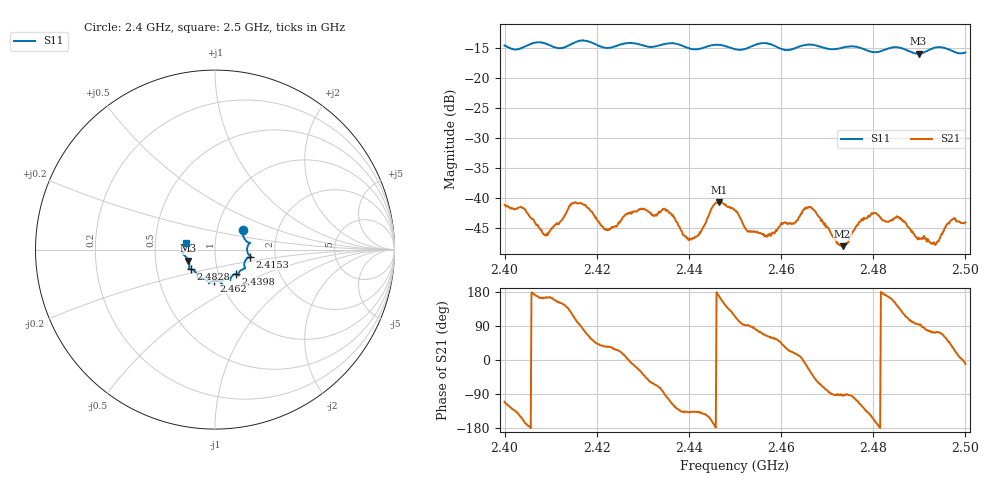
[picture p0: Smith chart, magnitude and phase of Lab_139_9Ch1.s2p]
# Hz S RI R 50
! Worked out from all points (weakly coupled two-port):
!   601 points, 2.4 GHz to 2.5 GHz, reference 50 ohm
!   highest |S21| = -40.71 dB at 2.4465 GHz (marker M1); lowest = -48.1 dB at 2.4733 GHz (marker M2)
!   lowest |S11| = -15.9 dB at 2.4898 GHz (marker M3), VSWR 1.38, Z = 36.8 - j4.63 ohm
!   |S11| at or under -10 dB: start of sweep to end of sweep
!   S12 and S22 are empty: the file has one direction only
!   S11 on the Smith chart (normalised r, x): 2.4 GHz: 1.33, +0.29; 2.4153 GHz: 1.48, -0.12; 2.4398 GHz: 1.21, -0.34; 2.462 GHz: 0.93, -0.33; 2.4828 GHz: 0.74, -0.17; 2.5 GHz: 0.72, +0.06
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2.4e9  0.155 0.1065  -0.00301 -0.00818  0 0  0 0
2.404e9  0.1746 0.0475  -0.0076 -0.00309  0 0  0 0
2.408833e9  0.1923 0.035  -0.00467 0.00124  0 0  0 0
2.415333e9  0.1965 -0.0387  -0.00284 0.0087  0 0  0 0
2.416667e9  0.2023 -0.0428  0.000412 0.00897  0 0  0 0
2.422167e9  0.1668 -0.0659  0.00444 0.00316  0 0  0 0
2.433333e9  0.131 -0.1337  0.00243 -0.00695  0 0  0 0
2.435667e9  0.1319 -0.1448  -0.00195 -0.00727  0 0  0 0
2.439833e9  0.1156 -0.1363  -0.00331 -0.00299  0 0  0 0
2.4465e9  0.0848 -0.1706  -0.00906 0.0017  0 0  0 0
2.45e9  0.0649 -0.1627  -0.00333 0.00711  0 0  0 0
2.4565e9  0.0387 -0.193  0.00194 0.00446  0 0  0 0
2.462e9  -0.00514 -0.1729  0.00563 0.00239  0 0  0 0
2.466667e9  -0.0343 -0.1877  0.0066 -0.00487  0 0  0 0
2.473333e9  -0.0829 -0.1601  -0.000232 -0.00393  0 0  0 0
2.48e9  -0.1098 -0.1237  -0.00674 -0.00307  0 0  0 0
2.482833e9  -0.1364 -0.1095  -0.00622 0.00109  0 0  0 0
2.483333e9  -0.1402 -0.1092  -0.00613 0.00141  0 0  0 0
2.489833e9  -0.1484 -0.0613  -0.000298 0.00463  0 0  0 0
2.493167e9  -0.1773 -0.0262  0.00123 0.00405  0 0  0 0
2.497167e9  -0.1688 -0.00547  0.00544 0.00372  0 0  0 0
2.5e9  -0.1595 0.039  0.00611 -0.00113  0 0  0 0
